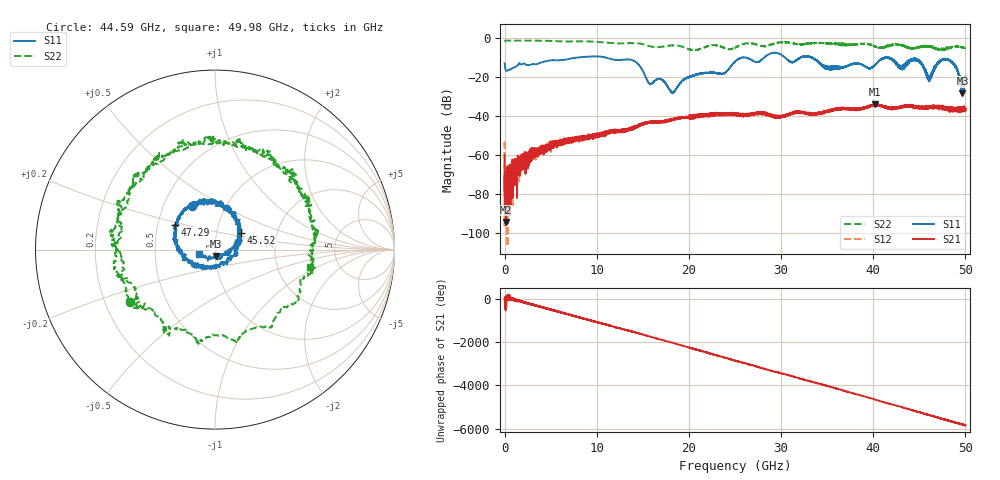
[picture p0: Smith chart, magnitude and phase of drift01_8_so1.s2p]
!Created with skrf (http://scikit-rf.org).
# Hz S RI R 50.0
!freq ReS11 ImS11 ReS21 ImS21 ReS12 ImS12 ReS22 ImS22
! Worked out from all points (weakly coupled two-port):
!   10001 points, 300 kHz to 50 GHz, reference 50 ohm
!   highest |S21| = -34.06 dB at 40.14 GHz (marker M1); lowest = -94.3 dB at 150.3 MHz (marker M2)
!   lowest |S11| = -28.5 dB at 49.69 GHz (marker M3), VSWR 1.08, Z = 50.5 - j3.73 ohm
!   |S11| at or under -10 dB: 10.84 GHz to 25.97 GHz (15.13 GHz wide, 82.2 % of centre); 33.27 GHz to 41.4 GHz (8.133 GHz wide, 21.8 % of centre); 41.41 GHz to end of sweep (the widest 3 of 12)
!   |S22| runs from -6.5 to -1.4 dB; largest |S21 - S12| = 0.0038
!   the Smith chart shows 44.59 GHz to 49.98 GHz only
!   S11 on the Smith chart (normalised r, x): 44.59 GHz: 0.70, +0.36; 45.52 GHz: 1.31, +0.25; 47.29 GHz: 0.61, +0.18; 49.98 GHz: 0.83, -0.04
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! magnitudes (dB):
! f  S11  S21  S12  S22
! 300 kHz  -13.1  -60.4  -53.2  -2.1
! 150.3 MHz  -16.8  -94.3  -81.4  -1.5
! 260.3 MHz  -16.9  -71.5  -94.2  -1.4
! 2.91 GHz  -13.6  -60.1  -58.3  -1.4
! 8.335 GHz  -9.9  -51.2  -51.3  -1.8
! 13.77 GHz  -11.3  -47.2  -46.6  -2.7
! 15.73 GHz  -23.6  -43.3  -43.4  -4.3
! 16.67 GHz  -21.1  -43.3  -43.0  -4.8
! 18.25 GHz  -27.9  -42.0  -41.8  -3.9
! 25 GHz  -12.2  -39.4  -39.3  -5.1
! 33.34 GHz  -10.2  -39.1  -39.0  -2.6
! 40.14 GHz  -14.1  -34.1  -34.6  -4.4
! 41.67 GHz  -10.5  -36.1  -36.0  -4.2
! 43.08 GHz  -14.6  -35.2  -35.3  -3.7
! 44.59 GHz  -11.3  -35.3  -35.5  -5.1
! 45.52 GHz  -15.3  -35.3  -35.8  -4.6
! 46.14 GHz  -21.4  -35.6  -35.4  -4.4
! 47.29 GHz  -11.6  -35.2  -35.5  -6.0
! 48.69 GHz  -13.0  -36.1  -37.1  -4.6
! 49.69 GHz  -28.5  -36.2  -36.2  -4.9
! 49.98 GHz  -20.6  -36.4  -37.0  -5.4
! 50 GHz  -20.4  -36.1  -36.5  -5.4
